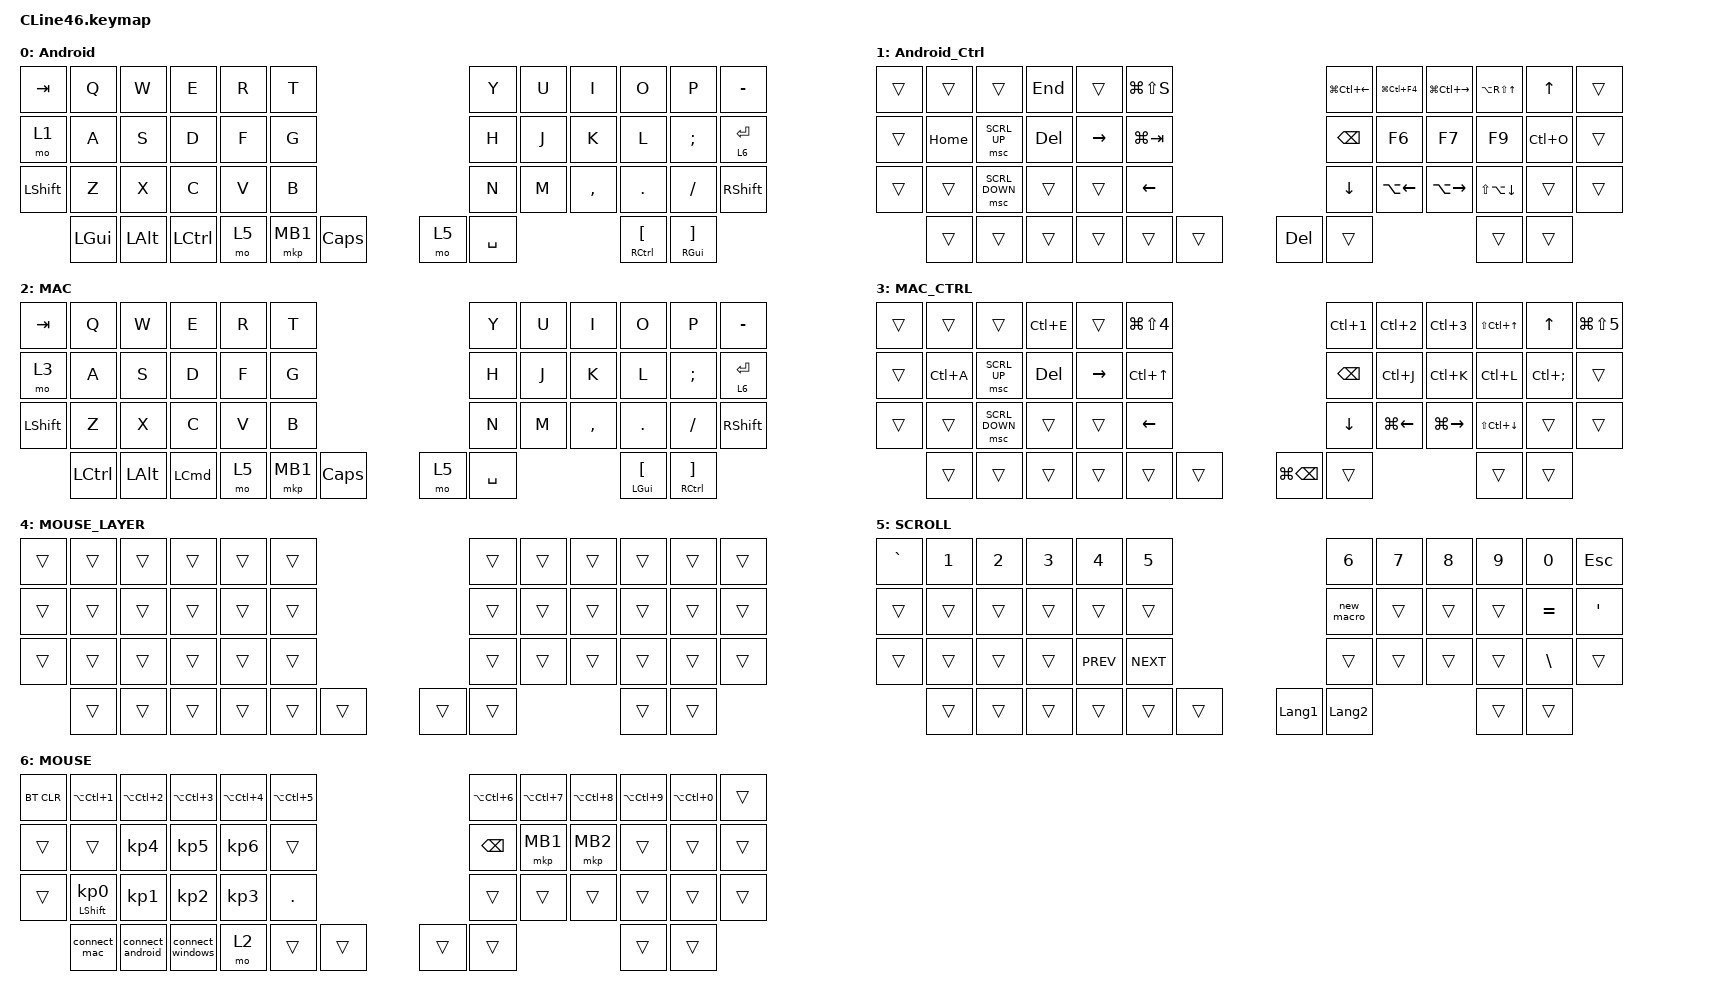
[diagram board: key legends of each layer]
#include <input/processors.dtsi>
#include <dt-bindings/zmk/input_transform.h>
#include <zephyr/dt-bindings/input/input-event-codes.h>
#include <behaviors.dtsi>
#include <dt-bindings/zmk/bt.h>
#include <dt-bindings/zmk/keys.h>
#include <dt-bindings/zmk/pointing.h>

#define ZMK_POINTING_DEFAULT_SCRL_VAL 120

&mt {
    flavor = "balanced";
    quick-tap-ms = <0>;
};

/ {
    combos {
        compatible = "zmk,combos";

        tab {
            bindings = <&kp TAB>;
            key-positions = <11 12>;
        };

        shift_tab {
            bindings = <&kp LS(TAB)>;
            key-positions = <12 13>;
        };

        kakko1 {
            bindings = <&kp LA(NUMBER_9)>;
            key-positions = <37 9>;
        };

        kakko2 {
            bindings = <&kp LA(NUMBER_0)>;
            key-positions = <37 10>;
        };
    };

    behaviors {
        ROTATE: ROTATE {
            compatible = "zmk,behavior-sensor-rotate-var";
            #sensor-binding-cells = <2>;
            bindings = <&msc>, <&msc>;

            tap-ms = <20>;
        };
    };

    macros {
        to_layer_0: to_layer_0 {
            compatible = "zmk,behavior-macro-one-param";
            #binding-cells = <1>;
            bindings = <&to 2 &macro_param_1to1 &kp MACRO_PLACEHOLDER>;
        };

        new_macro: new_macro {
            compatible = "zmk,behavior-macro";
            #binding-cells = <0>;
            bindings = <&kp N &kp A &kp Z &kp U &kp Y &kp O &kp R &kp U &kp H &kp A &kp N &kp E &kp K &kp O &kp ENTER>;
        };

        Mac_zoomin: zoom {
            compatible = "zmk,behavior-macro";
            #binding-cells = <0>;
            bindings = <&kt LEFT_GUI &msc SCRL_DOWN &kt LEFT_GUI>;
        };

        Mac_zoomout: Mac_zoomout {
            compatible = "zmk,behavior-macro";
            #binding-cells = <0>;
            bindings = <&kp LEFT_GUI &msc SCRL_UP &kt LEFT_GUI>;
        };

        connect_mac: connect_mac {
            compatible = "zmk,behavior-macro";
            #binding-cells = <0>;
            bindings = <&to 2 &bt BT_SEL 0>;
        };

        connect_ipad: connect_ipad {
            compatible = "zmk,behavior-macro";
            #binding-cells = <0>;
            bindings = <&to 2 &bt BT_SEL 1>;
        };

        connect_android: connect_android {
            compatible = "zmk,behavior-macro";
            #binding-cells = <0>;
            bindings = <&to 0 &bt BT_SEL 2>;
        };

        connect_windows: connect_windows {
            compatible = "zmk,behavior-macro";
            #binding-cells = <0>;
            bindings = <&bt BT_SEL 3 &to 0>;
        };
    };

    keymap {
        compatible = "zmk,keymap";

        Android {
            bindings = <
&kp TAB    &kp Q         &kp W         &kp E      &kp R  &kp T                            &kp Y      &kp U  &kp I      &kp O           &kp P               &kp MINUS
&mo 1      &kp A         &kp S         &kp D      &kp F  &kp G                            &kp H      &kp J  &kp K      &kp L           &kp SEMI            &lt 6 ENTER
&kp LSHFT  &kp Z         &kp X         &kp C      &kp V  &kp B                            &kp N      &kp M  &kp COMMA  &kp DOT         &kp FSLH            &kp RSHFT
           &kp LEFT_GUI  &kp LEFT_ALT  &kp LCTRL  &mo 5  &mkp MB1  &kp CAPSLOCK    &mo 5  &kp SPACE                    &mt RCTRL LBKT  &mt RIGHT_GUI RBKT
            >;
        };

        Android_Ctrl {
            bindings = <
&trans  &trans    &trans          &kp END     &trans     &kp LG(LS(S))                      &kp LG(LC(LEFT_ARROW))  &kp LG(LC(F4))      &kp LG(LC(RIGHT_ARROW))  &kp LA(RS(UP_ARROW))    &kp UP_ARROW  &trans
&trans  &kp HOME  &msc SCRL_UP    &kp DELETE  &kp RIGHT  &kp LG(TAB)                        &kp BACKSPACE           &kp F6              &kp F7                   &kp F9                  &kp LC(O)     &trans
&trans  &trans    &msc SCRL_DOWN  &trans      &trans     &kp LEFT_ARROW                     &kp DOWN_ARROW          &kp LA(LEFT_ARROW)  &kp LA(RIGHT)            &kp LS(LA(DOWN_ARROW))  &trans        &trans
        &trans    &trans          &trans      &trans     &trans          &trans    &kp DEL  &trans                                                               &trans                  &trans
            >;
        };

        MAC {
            bindings = <
&kp TAB    &kp Q      &kp W         &kp E     &kp R  &kp T                        &kp Y      &kp U  &kp I      &kp O                      &kp P                    &kp MINUS
&mo 3      &kp A      &kp S         &kp D     &kp F  &kp G                        &kp H      &kp J  &kp K      &kp L                      &kp SEMICOLON            &lt 6 ENTER
&kp LSHFT  &kp Z      &kp X         &kp C     &kp V  &kp B                        &kp N      &kp M  &kp COMMA  &kp DOT                    &kp FSLH                 &kp RSHFT
           &kp LCTRL  &kp LEFT_ALT  &kp LCMD  &mo 5  &mkp MB1  &kp CAPS    &mo 5  &kp SPACE                    &mt LEFT_GUI LEFT_BRACKET  &mt RCTRL RIGHT_BRACKET
            >;
        };

        MAC_CTRL {
            bindings = <
&trans  &trans     &trans          &kp LC(E)   &trans     &kp LG(LS(NUMBER_4))                               &kp LC(NUMBER_1)  &kp LC(NUMBER_2)    &kp LC(NUMBER_3)  &kp LS(LC(UP_ARROW))  &kp UP_ARROW       &kp LG(LS(NUMBER_5))
&trans  &kp LC(A)  &msc SCRL_UP    &kp DELETE  &kp RIGHT  &kp LC(UP_ARROW)                                   &kp BACKSPACE     &kp LC(J)           &kp LC(K)         &kp LC(L)             &kp LC(SEMICOLON)  &trans
&trans  &trans     &msc SCRL_DOWN  &trans      &trans     &kp LEFT_ARROW                                     &kp DOWN_ARROW    &kp LG(LEFT_ARROW)  &kp LG(RIGHT)     &kp LS(LC(DOWN))      &trans             &trans
        &trans     &trans          &trans      &trans     &trans                &trans    &kp LG(BACKSPACE)  &trans                                                  &trans                &trans
            >;
        };

        MOUSE_LAYER {
            bindings = <
&trans  &trans  &trans  &trans  &trans  &trans                    &trans  &trans  &trans  &trans  &trans  &trans
&trans  &trans  &trans  &trans  &trans  &trans                    &trans  &trans  &trans  &trans  &trans  &trans
&trans  &trans  &trans  &trans  &trans  &trans                    &trans  &trans  &trans  &trans  &trans  &trans
        &trans  &trans  &trans  &trans  &trans  &trans    &trans  &trans                  &trans  &trans
            >;
        };

        SCROLL {
            bindings = <
&kp GRAVE  &kp NUMBER_1  &kp NUMBER_2  &kp NUMBER_3  &kp NUMBER_4  &kp NUMBER_5                            &kp NUMBER_6    &kp NUMBER_7  &kp NUMBER_8  &kp NUMBER_9  &kp NUMBER_0   &kp ESCAPE
&trans     &trans        &trans        &trans        &trans        &trans                                  &new_macro      &trans        &trans        &trans        &kp EQUAL      &kp SINGLE_QUOTE
&trans     &trans        &trans        &trans        &kp C_PREV    &kp C_NEXT                              &trans          &trans        &trans        &trans        &kp BACKSLASH  &trans
           &trans        &trans        &trans        &trans        &trans        &trans    &kp LANGUAGE_1  &kp LANGUAGE_2                              &trans        &trans
            >;
        };

        MOUSE {
            bindings = <
&bt BT_CLR  &kp LA(LC(NUMBER_1))        &kp LA(LC(NUMBER_2))  &kp LA(LC(NUMBER_3))  &kp LA(LC(NUMBER_4))  &kp LA(LC(NUMBER_5))                    &kp LA(LC(NUMBER_6))  &kp LA(LC(NUMBER_7))  &kp LA(LC(NUMBER_8))  &kp LA(LC(NUMBER_9))  &kp LA(LC(NUMBER_0))  &trans
&trans      &trans                      &kp KP_NUMBER_4       &kp KP_NUMBER_5       &kp KP_NUMBER_6       &trans                                  &kp BACKSPACE         &mkp MB1              &mkp MB2              &trans                &trans                &trans
&trans      &mt LEFT_SHIFT KP_NUMBER_0  &kp KP_NUMBER_1       &kp KP_NUMBER_2       &kp KP_NUMBER_3       &kp PERIOD                              &trans                &trans                &trans                &trans                &trans                &trans
            &connect_mac                &connect_android      &connect_windows      &mo 2                 &trans                &trans    &trans  &trans                                                            &trans                &trans
            >;
        };
    };
};
